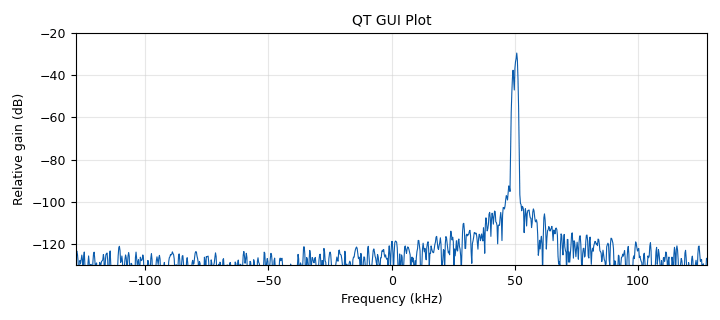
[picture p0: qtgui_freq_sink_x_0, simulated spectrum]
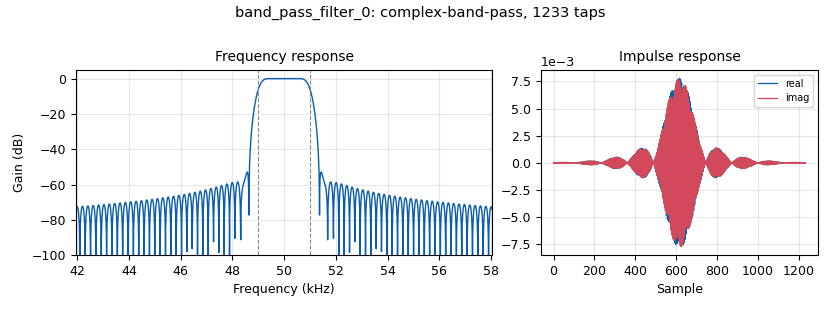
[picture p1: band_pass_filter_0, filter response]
<?xml version='1.0' encoding='utf-8'?>
<flow_graph>
<block>
<key>options</key>
<param><key>id</key><value>VectorSelectorDemo2</value></param>
<param><key>generate_options</key><value>qt_gui</value></param>
<param><key>category</key><value>Custom</value></param>
</block>
<block>
<key>variable</key>
<param><key>id</key><value>twidth</value></param>
<param><key>value</key><value>bandw / Hz_per_slice</value></param>
</block>
<block>
<key>variable</key>
<param><key>id</key><value>tap</value></param>
<param><key>value</key><value>int( (fft_size/2) + (freq/Hz_per_slice) )</value></param>
</block>
<block>
<key>variable</key>
<param><key>id</key><value>Hz_per_slice</value></param>
<param><key>value</key><value>samp_rate / fft_size</value></param>
</block>
<block>
<key>variable</key>
<param><key>id</key><value>samp_rate</value></param>
<param><key>value</key><value>256000</value></param>
</block>
<block>
<key>variable</key>
<param><key>id</key><value>fft_size</value></param>
<param><key>value</key><value>1024</value></param>
</block>
<block>
<key>variable_qtgui_range</key>
<param><key>id</key><value>freq</value></param>
<param><key>label</key><value>Frequency</value></param>
<param><key>value</key><value>50000</value></param>
<param><key>start</key><value>1000</value></param>
<param><key>stop</key><value>127000</value></param>
<param><key>step</key><value>1000</value></param>
<param><key>orient</key><value>Qt.Horizontal</value></param>
<param><key>gui_hint</key><value>0,0,1,1</value></param>
</block>
<block>
<key>vector_selector</key>
<param><key>id</key><value>vector_selector_0</value></param>
<param><key>type</key><value>complex</value></param>
<param><key>vec_len</key><value>fft_size</value></param>
<param><key>indices</key><value>0</value></param>
<param><key>ports</key><value>1</value></param>
<param><key>modality</key><value>grvectorselector.MINMAX_MODE</value></param>
<param><key>debug</key><value>False</value></param>
</block>
<block>
<key>variable_qtgui_range</key>
<param><key>id</key><value>bandw</value></param>
<param><key>label</key><value>Bandwidth</value></param>
<param><key>value</key><value>2000</value></param>
<param><key>start</key><value>500</value></param>
<param><key>stop</key><value>5000</value></param>
<param><key>step</key><value>50</value></param>
<param><key>orient</key><value>Qt.Horizontal</value></param>
<param><key>gui_hint</key><value>0,1,1,1</value></param>
</block>
<block>
<key>analog_sig_source_x</key>
<param><key>id</key><value>analog_sig_source_x_0</value></param>
<param><key>type</key><value>complex</value></param>
<param><key>samp_rate</key><value>samp_rate</value></param>
<param><key>waveform</key><value>analog.GR_COS_WAVE</value></param>
<param><key>freq</key><value>freq</value></param>
<param><key>amp</key><value>4</value></param>
<param><key>offset</key><value>0</value></param>
</block>
<block>
<key>rational_resampler_xxx</key>
<param><key>id</key><value>rational_resampler_xxx_0</value></param>
<param><key>type</key><value>ccc</value></param>
<param><key>interp</key><value>fft_size</value></param>
<param><key>decim</key><value>1</value></param>
<param><key>taps</key><value></value></param>
</block>
<block>
<key>vector_selector</key>
<param><key>id</key><value>vector_selector_1</value></param>
<param><key>type</key><value>complex</value></param>
<param><key>vec_len</key><value>2</value></param>
<param><key>indices</key><value>0,1</value></param>
<param><key>ports</key><value>2</value></param>
<param><key>modality</key><value>grvectorselector.INDEX_MODE</value></param>
<param><key>debug</key><value>False</value></param>
</block>
<block>
<key>blocks_complex_to_real</key>
<param><key>id</key><value>blocks_complex_to_real_0</value></param>
</block>
<block>
<key>analog_noise_source_x</key>
<param><key>id</key><value>analog_noise_source_x_0</value></param>
<param><key>type</key><value>complex</value></param>
<param><key>noise_type</key><value>analog.GR_GAUSSIAN</value></param>
<param><key>amp</key><value>0.337</value></param>
<param><key>seed</key><value>0</value></param>
</block>
<block>
<key>qtgui_freq_sink_x</key>
<param><key>id</key><value>qtgui_freq_sink_x_0</value></param>
<param><key>type</key><value>complex</value></param>
<param><key>name</key><value>QT GUI Plot</value></param>
<param><key>fftsize</key><value>1024</value></param>
<param><key>wintype</key><value>firdes.WIN_BLACKMAN_hARRIS</value></param>
<param><key>fc</key><value>0</value></param>
<param><key>bw</key><value>samp_rate</value></param>
<param><key>ymin</key><value>-130</value></param>
<param><key>ymax</key><value>-20</value></param>
<param><key>gui_hint</key><value>1,0,2,2</value></param>
</block>
<block>
<key>rational_resampler_xxx</key>
<param><key>id</key><value>rational_resampler_xxx_0_0</value></param>
<param><key>type</key><value>fff</value></param>
<param><key>interp</key><value>fft_size</value></param>
<param><key>decim</key><value>1</value></param>
<param><key>taps</key><value></value></param>
</block>
<block>
<key>qtgui_time_sink_x</key>
<param><key>id</key><value>qtgui_time_sink_x_1</value></param>
<param><key>type</key><value>float</value></param>
<param><key>name</key><value>QT GUI Plot</value></param>
<param><key>size</key><value>1024</value></param>
<param><key>srate</key><value>samp_rate</value></param>
<param><key>ymin</key><value>tap-twidth</value></param>
<param><key>ymax</key><value>tap+twidth</value></param>
<param><key>gui_hint</key><value>3,1,2,1</value></param>
</block>
<block>
<key>band_pass_filter</key>
<param><key>id</key><value>band_pass_filter_0</value></param>
<param><key>type</key><value>interp_fir_filter_ccc</value></param>
<param><key>interp</key><value>1</value></param>
<param><key>gain</key><value>1</value></param>
<param><key>samp_rate</key><value>samp_rate</value></param>
<param><key>low_cutoff_freq</key><value>freq-bandw/2</value></param>
<param><key>high_cutoff_freq</key><value>freq+bandw/2</value></param>
<param><key>width</key><value>500</value></param>
<param><key>win</key><value>firdes.WIN_HAMMING</value></param>
</block>
<block>
<key>blocks_multiply_xx</key>
<param><key>id</key><value>blocks_multiply_xx_0</value></param>
<param><key>type</key><value>complex</value></param>
</block>
<block>
<key>blocks_throttle</key>
<param><key>id</key><value>blocks_throttle_0</value></param>
<param><key>type</key><value>complex</value></param>
<param><key>samples_per_second</key><value>samp_rate</value></param>
</block>
<block>
<key>blocks_stream_to_vector</key>
<param><key>id</key><value>blocks_stream_to_vector_0</value></param>
<param><key>type</key><value>complex</value></param>
<param><key>num_items</key><value>fft_size</value></param>
</block>
<block>
<key>fft_vxx</key>
<param><key>id</key><value>fft_vxx_0</value></param>
<param><key>type</key><value>complex</value></param>
<param><key>fft_size</key><value>fft_size</value></param>
<param><key>forward</key><value>True</value></param>
<param><key>window</key><value>window.blackmanharris(fft_size)</value></param>
<param><key>shift</key><value>True</value></param>
</block>
<block>
<key>qtgui_time_sink_x</key>
<param><key>id</key><value>qtgui_time_sink_x_0</value></param>
<param><key>type</key><value>complex</value></param>
<param><key>name</key><value>QT GUI Plot</value></param>
<param><key>size</key><value>1024</value></param>
<param><key>srate</key><value>samp_rate</value></param>
<param><key>ymin</key><value>-100</value></param>
<param><key>ymax</key><value>100</value></param>
<param><key>update_time</key><value>0.1</value></param>
<param><key>tr_mode</key><value>qtgui.TRIG_MODE_NORM</value></param>
<param><key>tr_slope</key><value>qtgui.TRIG_SLOPE_NEG</value></param>
<param><key>gui_hint</key><value>3,0,2,1</value></param>
</block>
<connection><source_block_id>blocks_stream_to_vector_0</source_block_id><sink_block_id>fft_vxx_0</sink_block_id><source_key>0</source_key><sink_key>0</sink_key></connection>
<connection><source_block_id>fft_vxx_0</source_block_id><sink_block_id>vector_selector_0</sink_block_id><source_key>0</source_key><sink_key>0</sink_key></connection>
<connection><source_block_id>rational_resampler_xxx_0_0</source_block_id><sink_block_id>qtgui_time_sink_x_1</sink_block_id><source_key>0</source_key><sink_key>0</sink_key></connection>
<connection><source_block_id>analog_sig_source_x_0</source_block_id><sink_block_id>blocks_multiply_xx_0</sink_block_id><source_key>0</source_key><sink_key>0</sink_key></connection>
<connection><source_block_id>analog_noise_source_x_0</source_block_id><sink_block_id>blocks_multiply_xx_0</sink_block_id><source_key>0</source_key><sink_key>1</sink_key></connection>
<connection><source_block_id>blocks_multiply_xx_0</source_block_id><sink_block_id>band_pass_filter_0</sink_block_id><source_key>0</source_key><sink_key>0</sink_key></connection>
<connection><source_block_id>band_pass_filter_0</source_block_id><sink_block_id>blocks_throttle_0</sink_block_id><source_key>0</source_key><sink_key>0</sink_key></connection>
<connection><source_block_id>blocks_throttle_0</source_block_id><sink_block_id>blocks_stream_to_vector_0</sink_block_id><source_key>0</source_key><sink_key>0</sink_key></connection>
<connection><source_block_id>vector_selector_0</source_block_id><sink_block_id>vector_selector_1</sink_block_id><source_key>0</source_key><sink_key>0</sink_key></connection>
<connection><source_block_id>rational_resampler_xxx_0</source_block_id><sink_block_id>qtgui_time_sink_x_0</sink_block_id><source_key>0</source_key><sink_key>0</sink_key></connection>
<connection><source_block_id>vector_selector_1</source_block_id><sink_block_id>rational_resampler_xxx_0</sink_block_id><source_key>1</source_key><sink_key>0</sink_key></connection>
<connection><source_block_id>blocks_complex_to_real_0</source_block_id><sink_block_id>rational_resampler_xxx_0_0</sink_block_id><source_key>0</source_key><sink_key>0</sink_key></connection>
<connection><source_block_id>vector_selector_1</source_block_id><sink_block_id>blocks_complex_to_real_0</sink_block_id><source_key>0</source_key><sink_key>0</sink_key></connection>
<connection><source_block_id>blocks_throttle_0</source_block_id><sink_block_id>qtgui_freq_sink_x_0</sink_block_id><source_key>0</source_key><sink_key>0</sink_key></connection>
</flow_graph>
